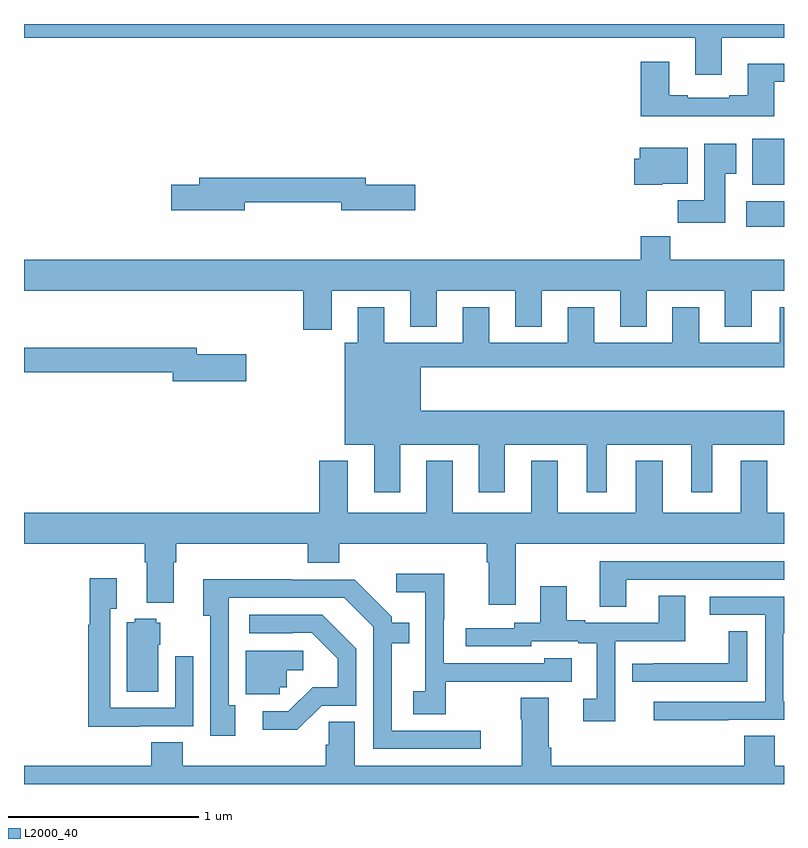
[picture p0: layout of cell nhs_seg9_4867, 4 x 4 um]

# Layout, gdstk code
import gdstk
lib = gdstk.Library(unit=1e-6, precision=1e-09)
def R(c, l, rs):  # rectangles x0, y0, x1, y1
    for r in rs: c.add(gdstk.rectangle(r[:2], r[2:], *l))
def P(c, l, *ps):  # polygons
    for p in ps: c.add(gdstk.Polygon(p, *l))
L2000_40 = (2000, 40)

nhs_seg9_4867 = lib.new_cell('nhs_seg9_4867')
R(nhs_seg9_4867, L2000_40, [(396.801,1187.432,397,1187.566), (396.833,1187.654,397,1187.896)])
P(nhs_seg9_4867, L2000_40, [(396.673,1188.428),(397,1188.428),(397,1188.5),(393,1188.5),(393,1188.428),(396.533,1188.428),(396.533,1188.234),(396.673,1188.234)],
  [(396.949,1188.195),(397,1188.195),(397,1188.292),(396.809,1188.292),(396.809,1188.124),(396.713,1188.124),(396.713,1188.111),(396.493,1188.111),(396.493,1188.124),(396.397,1188.124),(396.397,1188.301),(396.245,1188.301),(396.245,1188.014),(396.949,1188.014)],
  [(396.691,1187.713),(396.748,1187.713),(396.748,1187.869),(396.581,1187.869),(396.581,1187.572),(396.442,1187.572),(396.442,1187.454),(396.691,1187.454)],
  [(396.36,1187.66),(396.493,1187.66),(396.493,1187.848),(396.242,1187.848),(396.242,1187.79),(396.212,1187.79),(396.212,1187.654),(396.36,1187.654)],
  [(394.162,1187.562),(394.67,1187.562),(394.67,1187.519),(395.059,1187.519),(395.059,1187.654),(394.798,1187.654),(394.798,1187.69),(393.923,1187.69),(393.923,1187.654),(393.774,1187.654),(393.774,1187.519),(394.162,1187.519)],
  [(394.621,1187.096),(395.033,1187.096),(395.033,1186.907),(395.173,1186.907),(395.173,1187.096),(395.585,1187.096),(395.585,1186.907),(395.725,1186.907),(395.725,1187.096),(396.137,1187.096),(396.137,1186.907),(396.277,1186.907),(396.277,1187.096),(396.689,1187.096),(396.689,1186.907),(396.829,1186.907),(396.829,1187.096),(397,1187.096),(397,1187.26),(396.401,1187.26),(396.401,1187.384),(396.245,1187.384),(396.245,1187.26),(393,1187.26),(393,1187.096),(394.469,1187.096),(394.469,1186.89),(394.621,1186.89)],
  [(394.981,1186.286),(395.393,1186.286),(395.393,1186.035),(395.53,1186.035),(395.53,1186.286),(395.963,1186.286),(395.963,1186.035),(396.067,1186.035),(396.067,1186.286),(396.512,1186.286),(396.512,1186.035),(396.622,1186.035),(396.622,1186.286),(397,1186.286),(397,1186.465),(395.089,1186.465),(395.089,1186.694),(397,1186.694),(397,1187.008),(396.977,1187.008),(396.977,1186.822),(396.553,1186.822),(396.553,1187.008),(396.413,1187.008),(396.413,1186.822),(396.001,1186.822),(396.001,1187.008),(395.861,1187.008),(395.861,1186.822),(395.449,1186.822),(395.449,1187.008),(395.309,1187.008),(395.309,1186.822),(394.897,1186.822),(394.897,1187.008),(394.757,1187.008),(394.757,1186.822),(394.688,1186.822),(394.688,1186.286),(394.844,1186.286),(394.844,1186.035),(394.981,1186.035)],
  [(394.171,1186.761),(393.91,1186.761),(393.91,1186.795),(393,1186.795),(393,1186.666),(393.782,1186.666),(393.782,1186.619),(394.171,1186.619)],
  [(397,1185.928),(396.913,1185.928),(396.913,1186.201),(396.773,1186.201),(396.773,1185.928),(396.361,1185.928),(396.361,1186.201),(396.221,1186.201),(396.221,1185.928),(395.809,1185.928),(395.809,1186.201),(395.669,1186.201),(395.669,1185.928),(395.257,1185.928),(395.257,1186.201),(395.117,1186.201),(395.117,1185.928),(394.705,1185.928),(394.705,1186.201),(394.553,1186.201),(394.553,1185.928),(393,1185.928),(393,1185.764),(393.635,1185.764),(393.635,1185.668),(393.647,1185.668),(393.647,1185.455),(393.787,1185.455),(393.787,1185.668),(393.8,1185.668),(393.8,1185.764),(394.493,1185.764),(394.493,1185.665),(394.658,1185.665),(394.658,1185.764),(395.435,1185.764),(395.435,1185.668),(395.447,1185.668),(395.447,1185.444),(395.587,1185.444),(395.587,1185.764),(397,1185.764)],
  [(396.169,1185.576),(397,1185.576),(397,1185.672),(396.029,1185.672),(396.029,1185.433),(396.169,1185.433)],
  [(395.221,1185.037),(395.525,1185.037),(395.525,1185.039),(395.884,1185.039),(395.884,1185.163),(395.739,1185.163),(395.739,1185.135),(395.208,1185.135),(395.208,1185.368),(395.211,1185.368),(395.211,1185.607),(394.959,1185.607),(394.959,1185.509),(395.112,1185.509),(395.112,1184.988),(395.049,1184.988),(395.049,1184.866),(395.221,1184.866)],
  [(393.607,1184.805),(393.891,1184.805),(393.891,1185.172),(393.795,1185.172),(393.795,1184.901),(393.453,1184.901),(393.453,1185.422),(393.487,1185.422),(393.487,1185.583),(393.345,1185.583),(393.345,1185.338),(393.337,1185.338),(393.337,1184.801),(393.607,1184.801)],
  [(395.404,1184.781),(394.936,1184.781),(394.936,1185.24),(395.027,1185.24),(395.027,1185.349),(394.935,1185.349),(394.935,1185.381),(394.74,1185.576),(394.409,1185.576),(394.409,1185.578),(393.944,1185.578),(393.944,1185.386),(393.981,1185.386),(393.981,1184.754),(394.111,1184.754),(394.111,1184.914),(394.077,1184.914),(394.077,1185.48),(394.686,1185.48),(394.839,1185.327),(394.839,1184.685),(395.404,1184.685)],
  [(396.111,1185.252),(396.481,1185.252),(396.481,1185.491),(396.341,1185.491),(396.341,1185.348),(395.953,1185.348),(395.953,1185.361),(395.857,1185.361),(395.857,1185.541),(395.717,1185.541),(395.717,1185.348),(395.58,1185.348),(395.58,1185.321),(395.325,1185.321),(395.325,1185.225),(395.67,1185.225),(395.67,1185.252),(395.918,1185.252),(395.918,1185.24),(396.014,1185.24),(396.014,1184.949),(395.943,1184.949),(395.943,1184.829),(396.111,1184.829)],
  [(396.707,1184.838),(397,1184.838),(397,1184.935),(396.996,1184.935),(396.996,1185.293),(397,1185.293),(397,1185.486),(396.609,1185.486),(396.609,1185.39),(396.9,1185.39),(396.9,1184.934),(396.315,1184.934),(396.315,1184.836),(396.707,1184.836)],
  [(394.566,1184.913),(394.749,1184.913),(394.749,1185.211),(394.57,1185.39),(394.185,1185.39),(394.185,1185.294),(394.415,1185.294),(394.415,1185.297),(394.515,1185.297),(394.652,1185.16),(394.652,1185.01),(394.519,1185.01),(394.392,1184.883),(394.257,1184.883),(394.257,1184.786),(394.438,1184.786)],
  [(393.706,1185.234),(393.718,1185.234),(393.718,1185.348),(393.696,1185.348),(393.696,1185.37),(393.582,1185.37),(393.582,1185.352),(393.542,1185.352),(393.542,1184.986),(393.706,1184.986)],
  [(396.807,1185.305),(396.709,1185.305),(396.709,1185.135),(396.313,1185.135),(396.313,1185.134),(396.201,1185.134),(396.201,1185.039),(396.807,1185.039)],
  [(394.347,1185.009),(394.383,1185.009),(394.383,1185.098),(394.471,1185.098),(394.471,1185.201),(394.166,1185.201),(394.166,1184.973),(394.347,1184.973)],
  [(397,1184.596),(396.951,1184.596),(396.951,1184.753),(396.791,1184.753),(396.791,1184.596),(395.774,1184.596),(395.774,1184.692),(395.761,1184.692),(395.761,1184.953),(395.614,1184.953),(395.614,1184.84),(395.621,1184.84),(395.621,1184.596),(394.741,1184.596),(394.741,1184.828),(394.603,1184.828),(394.603,1184.706),(394.589,1184.706),(394.589,1184.596),(393.836,1184.596),(393.836,1184.72),(393.671,1184.72),(393.671,1184.596),(393,1184.596),(393,1184.5),(397,1184.5)])

lib.write_gds('nhs_seg9_4867.gds')
